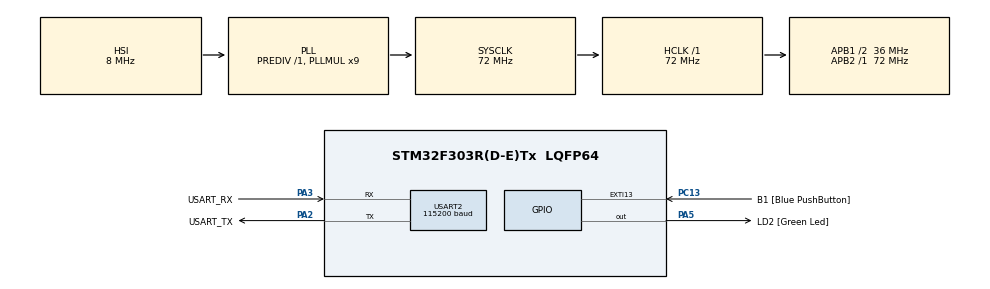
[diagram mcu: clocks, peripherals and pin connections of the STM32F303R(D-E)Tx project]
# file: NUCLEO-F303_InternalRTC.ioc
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Mcu.Family=STM32F3
Mcu.Name=STM32F303R(D-E)Tx
Mcu.Package=LQFP64
NVIC.PriorityGroup=NVIC_PRIORITYGROUP_0
NVIC.RTC_Alarm_IRQn=true\:0\:0\:false\:false\:true\:true\:true\:true
PA13.GPIO_Label=TMS
PA13.Mode=Serial_Wire
PA13.Signal=SYS_JTMS-SWDIO
PA14.GPIO_Label=TCK
PA14.Mode=Serial_Wire
PA14.Signal=SYS_JTCK-SWCLK
PA2.GPIO_Label=USART_TX
PA2.GPIO_Mode=GPIO_MODE_AF_PP
PA2.GPIO_PuPd=GPIO_NOPULL
PA2.GPIO_Speed=GPIO_SPEED_FREQ_LOW
PA2.Mode=Asynchronous
PA2.Signal=USART2_TX
PA3.GPIO_Label=USART_RX
PA3.GPIO_Mode=GPIO_MODE_AF_PP
PA3.GPIO_PuPd=GPIO_NOPULL
PA3.GPIO_Speed=GPIO_SPEED_FREQ_LOW
PA3.Mode=Asynchronous
PA3.Signal=USART2_RX
PA5.GPIO_Label=LD2 [Green Led]
PA5.GPIO_Mode=GPIO_MODE_OUTPUT_PP
PA5.GPIO_PuPd=GPIO_NOPULL
PA5.GPIO_Speed=GPIO_SPEED_FREQ_LOW
PA5.Signal=GPIO_Output
PB3.GPIO_Label=SWO
PB3.Signal=SYS_JTDO-TRACESWO
PC13.GPIO_Label=B1 [Blue PushButton]
PC13.GPIO_ModeDefaultEXTI=GPIO_MODE_IT_FALLING
PC13.Signal=GPXTI13
PC14-OSC32_IN.Mode=LSE-External-Oscillator
PC14-OSC32_IN.Signal=RCC_OSC32_IN
PC15-OSC32_OUT.Mode=LSE-External-Oscillator
PC15-OSC32_OUT.Signal=RCC_OSC32_OUT
PF0-OSC_IN.Mode=HSE-External-Clock-Source
PF0-OSC_IN.Signal=RCC_OSC_IN
PF1-OSC_OUT.Signal=RCC_OSC_OUT
ProjectManager.HeapSize=0x200
ProjectManager.StackSize=0x400
ProjectManager.TargetToolchain=CMake
RCC.AHBFreq_Value=72000000
RCC.APB1CLKDivider=RCC_HCLK_DIV2
RCC.APB1Freq_Value=36000000
RCC.APB1TimFreq_Value=72000000
RCC.APB2Freq_Value=72000000
RCC.APB2TimFreq_Value=72000000
RCC.CortexFreq_Value=72000000
RCC.HCLKFreq_Value=72000000
RCC.HSE_VALUE=8000000
RCC.HSI_VALUE=8000000
RCC.PLLM=8
RCC.PLLMUL=RCC_PLL_MUL9
RCC.PLLN=336
RCC.PLLP=RCC_PLLP_DIV4
RCC.PLLQ=7
RCC.RCC_PLLsource_Clock_Source_FROM_HSE=RCC_HSE_PREDIV_DIV2
RCC.RTCClockSelection=RCC_RTCCLKSOURCE_LSE
RCC.SYSCLKFreq_VALUE=72000000
RCC.SYSCLKSourceVirtual=RCC_SYSCLKSOURCE_PLLCLK
RCC.USBFreq_Value=72000000
RTC.Alarm-Alarm\ A=RTC_ALARM_A
RTC.AlarmDateWeekDaySel-Alarm\ A=RTC_ALARMDATEWEEKDAYSEL_DATE
RTC.AlarmMaskDateWeekDay-Alarm\ A=RTC_ALARMMASK_DATEWEEKDAY
RTC.AlarmMaskHours-Alarm\ A=RTC_ALARMMASK_HOURS
RTC.AlarmMaskMinutes-Alarm\ A=RTC_ALARMMASK_MINUTES
RTC.AlarmMaskSeconds-Alarm\ A=RTC_ALARMMASK_SECONDS
USART2.BaudRate=115200
USART2.VirtualMode-Asynchronous=VM_ASYNC
VP_RTC_VS_RTC_Activate.Mode=RTC_Enabled
VP_RTC_VS_RTC_Alarm_A_Intern.Mode=Alarm A
VP_RTC_VS_RTC_Calendar.Mode=RTC_Calendar
board=NUCLEO-F303RE

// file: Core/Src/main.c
/* USER CODE BEGIN Header */
/**
  ******************************************************************************
  * @file           : main.c
  * @brief          : Main program body
  ******************************************************************************
  * @attention
  *
  * Copyright (c) 2026 STMicroelectronics.
  * All rights reserved.
  *
  * This software is licensed under terms that can be found in the LICENSE file
  * in the root directory of this software component.
  * If no LICENSE file comes with this software, it is provided AS-IS.
  *
  ******************************************************************************
  */
/* USER CODE END Header */
#include "main.h"

/* USER CODE BEGIN Includes */
#include <stdio.h>
#include <string.h>
/* USER CODE END Includes */

RTC_HandleTypeDef hrtc;

UART_HandleTypeDef huart2;

void SystemClock_Config(void);
static void MX_GPIO_Init(void);
static void MX_RTC_Init(void);
static void MX_USART2_UART_Init(void);
/* USER CODE BEGIN PFP */
void RTC_Set_Time_Date(uint8_t hours, uint8_t minutes, uint8_t seconds, uint8_t day, uint8_t month, uint8_t year);
void RTC_Get_Time_Date_String(char *buffer, uint8_t buffer_size);
/* USER CODE END PFP */

int main(void)
{

  /* MCU Configuration--------------------------------------------------------*/

  /* Reset of all peripherals, Initializes the Flash interface and the Systick. */
  HAL_Init();

  /* Configure the system clock */
  SystemClock_Config();

  /* Initialize all configured peripherals */
  MX_GPIO_Init();
  MX_RTC_Init();
  MX_USART2_UART_Init();
  /* USER CODE BEGIN 2 */
  char rtc_buffer[50];

  RTC_Set_Time_Date(13, 24, 0, 22, 6, 26);
  /* USER CODE END 2 */

  /* Infinite loop */
  /* USER CODE BEGIN WHILE */
  while (1)
  {
    // Obtener y mostrar la hora cada segundo
    RTC_Get_Time_Date_String(rtc_buffer, sizeof(rtc_buffer));

    HAL_UART_Transmit(&huart2, (uint8_t*)rtc_buffer, strlen(rtc_buffer), 100);

    HAL_Delay(1000);
    /* USER CODE END WHILE */

  }
}

void SystemClock_Config(void)
{
  RCC_OscInitTypeDef RCC_OscInitStruct = {0};
  RCC_ClkInitTypeDef RCC_ClkInitStruct = {0};
  RCC_PeriphCLKInitTypeDef PeriphClkInit = {0};

  /** Configure LSE Drive Capability
  */
  HAL_PWR_EnableBkUpAccess();
  __HAL_RCC_LSEDRIVE_CONFIG(RCC_LSEDRIVE_LOW);

  /** Initializes the RCC Oscillators according to the specified parameters
  * in the RCC_OscInitTypeDef structure.
  */
  RCC_OscInitStruct.OscillatorType = RCC_OSCILLATORTYPE_HSI|RCC_OSCILLATORTYPE_LSE;
  RCC_OscInitStruct.LSEState = RCC_LSE_ON;
  RCC_OscInitStruct.HSIState = RCC_HSI_ON;
  RCC_OscInitStruct.HSICalibrationValue = RCC_HSICALIBRATION_DEFAULT;
  RCC_OscInitStruct.PLL.PLLState = RCC_PLL_ON;
  RCC_OscInitStruct.PLL.PLLSource = RCC_PLLSOURCE_HSI;
  RCC_OscInitStruct.PLL.PLLMUL = RCC_PLL_MUL9;
  RCC_OscInitStruct.PLL.PREDIV = RCC_PREDIV_DIV1;
  if (HAL_RCC_OscConfig(&RCC_OscInitStruct) != HAL_OK)
  {
    Error_Handler();
  }

  /** Initializes the CPU, AHB and APB buses clocks
  */
  RCC_ClkInitStruct.ClockType = RCC_CLOCKTYPE_HCLK|RCC_CLOCKTYPE_SYSCLK
                              |RCC_CLOCKTYPE_PCLK1|RCC_CLOCKTYPE_PCLK2;
  RCC_ClkInitStruct.SYSCLKSource = RCC_SYSCLKSOURCE_PLLCLK;
  RCC_ClkInitStruct.AHBCLKDivider = RCC_SYSCLK_DIV1;
  RCC_ClkInitStruct.APB1CLKDivider = RCC_HCLK_DIV2;
  RCC_ClkInitStruct.APB2CLKDivider = RCC_HCLK_DIV1;

  if (HAL_RCC_ClockConfig(&RCC_ClkInitStruct, FLASH_LATENCY_2) != HAL_OK)
  {
    Error_Handler();
  }
  PeriphClkInit.PeriphClockSelection = RCC_PERIPHCLK_USART2|RCC_PERIPHCLK_RTC;
  PeriphClkInit.Usart2ClockSelection = RCC_USART2CLKSOURCE_PCLK1;
  PeriphClkInit.RTCClockSelection = RCC_RTCCLKSOURCE_LSE;
  if (HAL_RCCEx_PeriphCLKConfig(&PeriphClkInit) != HAL_OK)
  {
    Error_Handler();
  }
}

static void MX_RTC_Init(void)
{

  RTC_TimeTypeDef sTime = {0};
  RTC_DateTypeDef sDate = {0};
  RTC_AlarmTypeDef sAlarm = {0};

  /** Initialize RTC Only
  */
  hrtc.Instance = RTC;
  hrtc.Init.HourFormat = RTC_HOURFORMAT_24;
  hrtc.Init.AsynchPrediv = 127;
  hrtc.Init.SynchPrediv = 255;
  hrtc.Init.OutPut = RTC_OUTPUT_DISABLE;
  hrtc.Init.OutPutPolarity = RTC_OUTPUT_POLARITY_HIGH;
  hrtc.Init.OutPutType = RTC_OUTPUT_TYPE_OPENDRAIN;
  if (HAL_RTC_Init(&hrtc) != HAL_OK)
  {
    Error_Handler();
  }

  /** Initialize RTC and set the Time and Date
  */
  sTime.Hours = 0x0;
  sTime.Minutes = 0x0;
  sTime.Seconds = 0x0;
  sTime.DayLightSaving = RTC_DAYLIGHTSAVING_NONE;
  sTime.StoreOperation = RTC_STOREOPERATION_RESET;
  if (HAL_RTC_SetTime(&hrtc, &sTime, RTC_FORMAT_BCD) != HAL_OK)
  {
    Error_Handler();
  }
  sDate.WeekDay = RTC_WEEKDAY_MONDAY;
  sDate.Month = RTC_MONTH_JANUARY;
  sDate.Date = 0x1;
  sDate.Year = 0x0;

  if (HAL_RTC_SetDate(&hrtc, &sDate, RTC_FORMAT_BCD) != HAL_OK)
  {
    Error_Handler();
  }

  /** Enable the Alarm A
  */
  sAlarm.AlarmTime.Hours = 0x0;
  sAlarm.AlarmTime.Minutes = 0x0;
  sAlarm.AlarmTime.Seconds = 0x0;
  sAlarm.AlarmTime.SubSeconds = 0x0;
  sAlarm.AlarmTime.DayLightSaving = RTC_DAYLIGHTSAVING_NONE;
  sAlarm.AlarmTime.StoreOperation = RTC_STOREOPERATION_RESET;
  sAlarm.AlarmMask = RTC_ALARMMASK_ALL;
  sAlarm.AlarmSubSecondMask = RTC_ALARMSUBSECONDMASK_ALL;
  sAlarm.AlarmDateWeekDaySel = RTC_ALARMDATEWEEKDAYSEL_DATE;
  sAlarm.AlarmDateWeekDay = 0x1;
  sAlarm.Alarm = RTC_ALARM_A;
  if (HAL_RTC_SetAlarm_IT(&hrtc, &sAlarm, RTC_FORMAT_BCD) != HAL_OK)
  {
    Error_Handler();
  }
  /* USER CODE BEGIN RTC_Init 2 */

  // Verificar el registro de Backup
  // Si no coincide con nuestra "firma", el RTC no ha sido configurado nunca (primer arranque)
  if (HAL_RTCEx_BKUPRead(&hrtc, RTC_BKP_DR0) != 0x32F3)
  {
    // Establecer una fecha/hora inicial por defecto: 21-Junio-2026 12:00:00
    RTC_Set_Time_Date(12, 15, 0, 21, 6, 26);

    // Escribir el patrón mágico en el registro de Backup 0
    HAL_RTCEx_BKUPWrite(&hrtc, RTC_BKP_DR0, 0x32F3);
  }
  /* USER CODE END RTC_Init 2 */

}

static void MX_USART2_UART_Init(void)
{

  huart2.Instance = USART2;
  huart2.Init.BaudRate = 115200;
  huart2.Init.WordLength = UART_WORDLENGTH_8B;
  huart2.Init.StopBits = UART_STOPBITS_1;
  huart2.Init.Parity = UART_PARITY_NONE;
  huart2.Init.Mode = UART_MODE_TX_RX;
  huart2.Init.HwFlowCtl = UART_HWCONTROL_NONE;
  huart2.Init.OverSampling = UART_OVERSAMPLING_16;
  huart2.Init.OneBitSampling = UART_ONE_BIT_SAMPLE_DISABLE;
  huart2.AdvancedInit.AdvFeatureInit = UART_ADVFEATURE_NO_INIT;
  if (HAL_UART_Init(&huart2) != HAL_OK)
  {
    Error_Handler();
  }

}

static void MX_GPIO_Init(void)
{
  GPIO_InitTypeDef GPIO_InitStruct = {0};

  /* GPIO Ports Clock Enable */
  __HAL_RCC_GPIOC_CLK_ENABLE();
  __HAL_RCC_GPIOF_CLK_ENABLE();
  __HAL_RCC_GPIOA_CLK_ENABLE();
  __HAL_RCC_GPIOB_CLK_ENABLE();

  /*Configure GPIO pin Output Level */
  HAL_GPIO_WritePin(LD2_GPIO_Port, LD2_Pin, GPIO_PIN_RESET);

  /*Configure GPIO pin : B1_Pin */
  GPIO_InitStruct.Pin = B1_Pin;
  GPIO_InitStruct.Mode = GPIO_MODE_IT_FALLING;
  GPIO_InitStruct.Pull = GPIO_NOPULL;
  HAL_GPIO_Init(B1_GPIO_Port, &GPIO_InitStruct);

  /*Configure GPIO pin : LD2_Pin */
  GPIO_InitStruct.Pin = LD2_Pin;
  GPIO_InitStruct.Mode = GPIO_MODE_OUTPUT_PP;
  GPIO_InitStruct.Pull = GPIO_NOPULL;
  GPIO_InitStruct.Speed = GPIO_SPEED_FREQ_LOW;
  HAL_GPIO_Init(LD2_GPIO_Port, &GPIO_InitStruct);

}

/* USER CODE BEGIN 4 */
void RTC_Set_Time_Date(uint8_t hours, uint8_t minutes, uint8_t seconds,
                       uint8_t day, uint8_t month, uint8_t year)
{
  RTC_TimeTypeDef sTime = {0};
  RTC_DateTypeDef sDate = {0};

  // Configuración de la Hora
  sTime.Hours = hours;
  sTime.Minutes = minutes;
  sTime.Seconds = seconds;
  sTime.DayLightSaving = RTC_DAYLIGHTSAVING_NONE;
  sTime.StoreOperation = RTC_STOREOPERATION_RESET;
  if (HAL_RTC_SetTime(&hrtc, &sTime, RTC_FORMAT_BIN) != HAL_OK)
  {
    Error_Handler();
  }

  // Configuración de la Fecha
  sDate.WeekDay = RTC_WEEKDAY_SUNDAY; // Opcional
  sDate.Date = day;
  sDate.Month = month;
  sDate.Year = year; // Acepta valores entre 0 y 99 (ej. 26 para 2026)
  if (HAL_RTC_SetDate(&hrtc, &sDate, RTC_FORMAT_BIN) != HAL_OK)
  {
    Error_Handler();
  }
}

void RTC_Get_Time_Date_String(char *buffer, uint8_t buffer_size)
{
  RTC_TimeTypeDef sTime = {0};
  RTC_DateTypeDef sDate = {0};

  // Obtener la hora actual (bloquea los shadow registers)
  HAL_RTC_GetTime(&hrtc, &sTime, RTC_FORMAT_BIN);

  // Obtener la fecha actual (libera los shadow registers para que el RTC siga contando)
  HAL_RTC_GetDate(&hrtc, &sDate, RTC_FORMAT_BIN);

  // Formatear en un string legible
  snprintf(buffer, buffer_size, "Date: 20%02d-%02d-%02d | Time: %02d:%02d:%02d\r\n",
           sDate.Year, sDate.Month, sDate.Date,
           sTime.Hours, sTime.Minutes, sTime.Seconds);
}

/* USER CODE END 4 */

void Error_Handler(void)
{
  __disable_irq();
  while (1)
  {
  }
}
